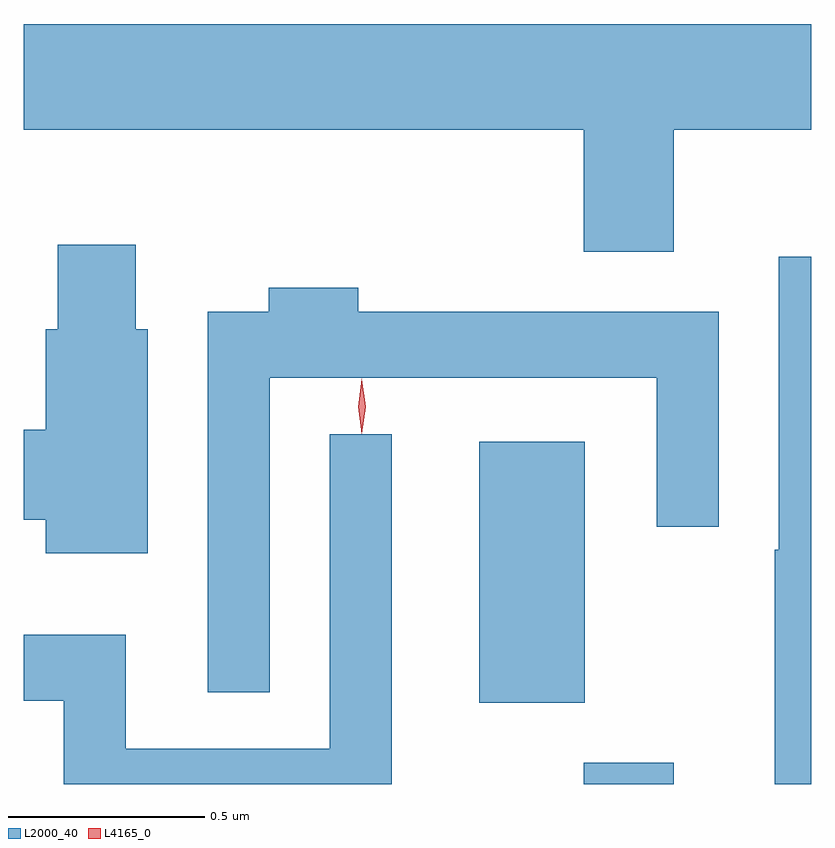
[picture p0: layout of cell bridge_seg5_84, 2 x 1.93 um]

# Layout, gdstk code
import gdstk
lib = gdstk.Library(unit=1e-6, precision=1e-09)
def R(c, l, rs):  # rectangles x0, y0, x1, y1
    for r in rs: c.add(gdstk.rectangle(r[:2], r[2:], *l))
def P(c, l, *ps):  # polygons
    for p in ps: c.add(gdstk.Polygon(p, *l))
L2000_40 = (2000, 40)
L4165_0 = (4165, 0)

bridge_seg5_84 = lib.new_cell('bridge_seg5_84')
R(bridge_seg5_84, L2000_40, [(1177.151,1501.755,1177.379,1501.809), (1176.886,1501.961,1177.154,1502.624)])
P(bridge_seg5_84, L2000_40, [(1177.379,1503.416),(1177.729,1503.416),(1177.729,1503.684),(1175.729,1503.684),(1175.729,1503.416),(1177.151,1503.416),(1177.151,1503.106),(1177.379,1503.106)],
  [(1176.044,1502.909),(1176.014,1502.909),(1176.014,1503.124),(1175.816,1503.124),(1175.816,1502.909),(1175.786,1502.909),(1175.786,1502.654),(1175.729,1502.654),(1175.729,1502.426),(1175.786,1502.426),(1175.786,1502.341),(1176.044,1502.341)],
  [(1177.729,1503.093),(1177.646,1503.093),(1177.646,1502.35),(1177.636,1502.35),(1177.636,1501.755),(1177.729,1501.755)],
  [(1176.354,1502.786),(1177.336,1502.786),(1177.336,1502.408),(1177.494,1502.408),(1177.494,1502.954),(1176.579,1502.954),(1176.579,1503.014),(1176.351,1503.014),(1176.351,1502.954),(1176.196,1502.954),(1176.196,1501.988),(1176.354,1501.988)],
  [(1176.664,1502.643),(1176.506,1502.643),(1176.506,1501.844),(1175.989,1501.844),(1175.989,1502.134),(1175.729,1502.134),(1175.729,1501.966),(1175.831,1501.966),(1175.831,1501.755),(1176.664,1501.755)])
P(bridge_seg5_84, L4165_0, [(1176.587,1502.644),(1176.578,1502.713),(1176.587,1502.782),(1176.588,1502.783),(1176.588,1502.782),(1176.598,1502.713),(1176.588,1502.644),(1176.588,1502.644)])

lib.write_gds('bridge_seg5_84.gds')
